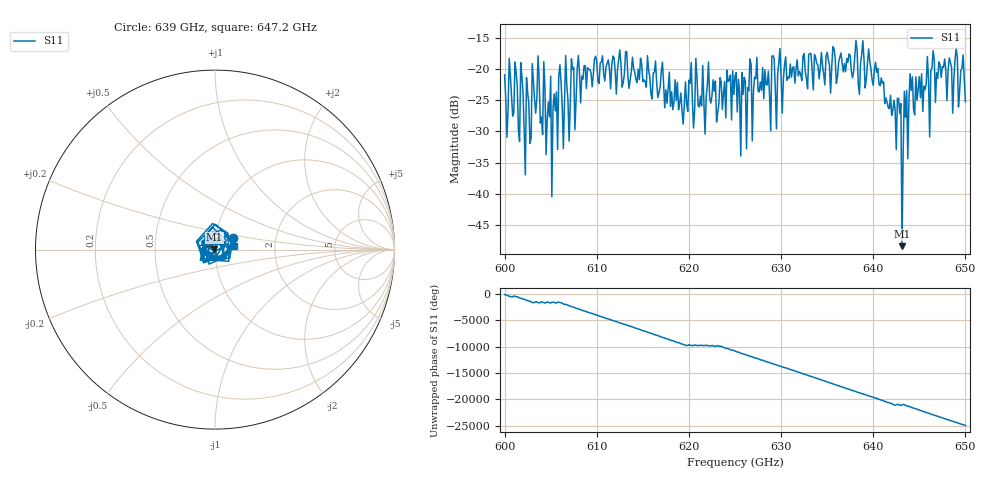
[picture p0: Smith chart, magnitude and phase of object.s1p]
!Created with skrf (http://scikit-rf.org).
# GHz S MA R 50.0
!freq magS11 angS11
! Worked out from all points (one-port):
!   401 points, 600 GHz to 650 GHz, reference 50 ohm
!   lowest |S11| = -48.5 dB at 643.1 GHz (marker M1), VSWR 1.01, Z = 49.6 + j0.0762 ohm
!   |S11| at or under -10 dB: start of sweep to end of sweep
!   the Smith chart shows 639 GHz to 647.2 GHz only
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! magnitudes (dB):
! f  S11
! 600 GHz  -20.9
! 601.1 GHz  -18.8
! 602.5 GHz  -23.8
! 603.5 GHz  -24.7
! 604.9 GHz  -27.7
! 605.9 GHz  -21.1
! 606.2 GHz  -25.8
! 608.1 GHz  -20.5
! 612.5 GHz  -16.9
! 618.8 GHz  -22.1
! 619.1 GHz  -23.8
! 620 GHz  -21.7
! 621.6 GHz  -25.4
! 622.4 GHz  -25.4
! 623 GHz  -28.5
! 625 GHz  -21.1
! 625.5 GHz  -23.8
! 627.2 GHz  -21.5
! 628.6 GHz  -20.3
! 631.2 GHz  -19.8
! 637.5 GHz  -17.8
! 640.4 GHz  -20.5
! 642.8 GHz  -24.7
! 643.1 GHz  -48.5
! 643.8 GHz  -34.4
! 646.5 GHz  -17.0
! 649.6 GHz  -19.8
! 650 GHz  -25.2
